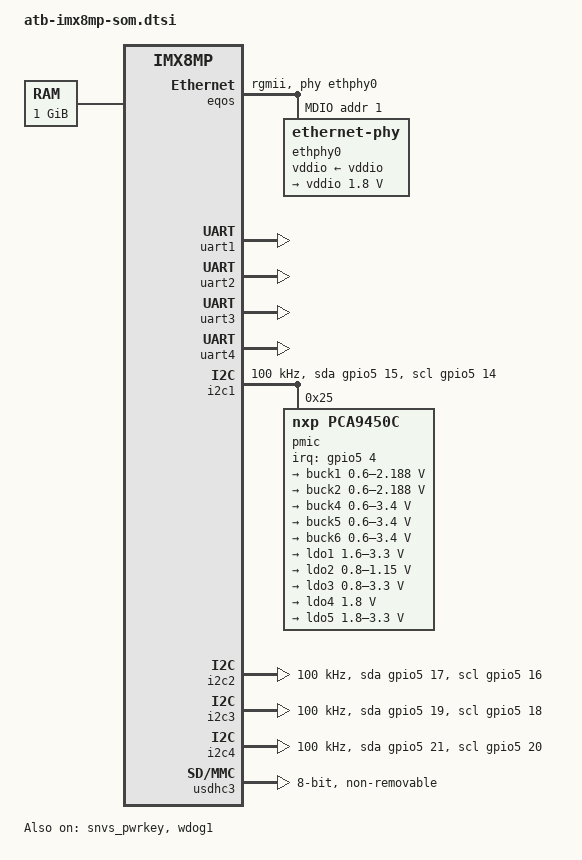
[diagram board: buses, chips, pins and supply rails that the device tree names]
// SPDX-License-Identifier: (GPL-2.0+ OR MIT)
/*
 * Copyright 2019 NXP
 * Copyright 2022 ATB
 */

/dts-v1/;

#include <dt-bindings/usb/pd.h>
#include "imx8mp.dtsi"

/ {
	compatible = "atb,imx8mp-var-som", "fsl,imx8mp";

	memory@40000000 {
		device_type = "memory";
		reg = <0x00000000 0x40000000 0x00000000 0x40000000>,
			  <0x00000000 0x00000000 0x00000000 0x00000000>;
	};

	aliases {
		ethernet0 = &eqos;
		ethernet1 = &fec;
	};
};

&eqos {
	pinctrl-names = "default";
	pinctrl-0 = <&pinctrl_eqos>;
	phy-mode = "rgmii";
	phy-handle = <&ethphy0>;
	status = "okay";

	mdio {
		compatible = "snps,dwmac-mdio";
		#address-cells = <1>;
		#size-cells = <0>;

		ethphy0: ethernet-phy@1 {
			reg = <1>;
			qca,clk-out-frequency = <125000000>;
			qca,keep-pll-enabled;
			vddio-supply = <&vddio>;

			vddio: vddio-regulator {
				regulator-min-microvolt = <1800000>;
				regulator-max-microvolt = <1800000>;
			};
		};
	};
};

/*
&sai3 {
	#sound-dai-cells = <0>;
	pinctrl-names = "default";
	pinctrl-0 = <&pinctrl_sai3>;
	assigned-clocks = <&clk IMX8MP_CLK_SAI3>;
	assigned-clock-parents = <&clk IMX8MP_AUDIO_PLL1_OUT>;
	assigned-clock-rates = <11536000>;
	clocks = <&audio_blk_ctrl IMX8MP_CLK_AUDIO_BLK_CTRL_SAI3_IPG>, <&clk IMX8MP_CLK_DUMMY>,
		 <&audio_blk_ctrl IMX8MP_CLK_AUDIO_BLK_CTRL_SAI3_MCLK1>, <&clk IMX8MP_CLK_DUMMY>,
		 <&clk IMX8MP_CLK_DUMMY>;
	clock-names = "bus", "mclk0", "mclk1", "mclk2", "mclk3";
	fsl,sai-mclk-direction-output;
	status = "okay";
};
*/

&uart1 {
	pinctrl-names = "default";
	pinctrl-0 = <&pinctrl_uart1>;
	status = "okay";
};

&uart2 {
	pinctrl-names = "default";
	pinctrl-0 = <&pinctrl_uart2>;
	status = "okay";
};

&uart3 {
	pinctrl-names = "default";
	pinctrl-0 = <&pinctrl_uart3>;
	status = "okay";
};

&uart4 {
	pinctrl-names = "default";
	pinctrl-0 = <&pinctrl_uart4>;
	status = "okay";
};

&i2c1 {
	clock-frequency = <100000>;
	pinctrl-names = "default", "gpio";
	pinctrl-0 = <&pinctrl_i2c1>;
	pinctrl-1 = <&pinctrl_i2c1_gpio>;
	scl-gpios = <&gpio5 14 GPIO_ACTIVE_HIGH>;
	sda-gpios = <&gpio5 15 GPIO_ACTIVE_HIGH>;
	status = "okay";

	pmic: pca9450@25 {
		reg = <0x25>;
		compatible = "nxp,pca9450c";
		pinctrl-names = "default";
		pinctrl-0 = <&pinctrl_pmic>;
		interrupt-parent = <&gpio5>;
		interrupts = <4 GPIO_ACTIVE_LOW>;
		status = "okay";

		regulators {
			#address-cells = <1>;
			#size-cells = <0>;

			buck1: BUCK1 {
				regulator-name = "BUCK1";
				regulator-min-microvolt = <600000>;
				regulator-max-microvolt = <2187500>;
				regulator-boot-on;
				regulator-always-on;
				regulator-ramp-delay = <3125>;
			};

			buck2: BUCK2 {
				regulator-name = "BUCK2";
				regulator-min-microvolt = <600000>;
				regulator-max-microvolt = <2187500>;
				regulator-boot-on;
				regulator-always-on;
				regulator-ramp-delay = <3125>;
				nxp,dvs-run-voltage = <950000>;
				nxp,dvs-standby-voltage = <850000>;
			};

			buck4: BUCK4 {
				regulator-name = "BUCK4";
				regulator-min-microvolt = <600000>;
				regulator-max-microvolt = <3400000>;
				regulator-boot-on;
				regulator-always-on;
			};

			buck5: BUCK5 {
				regulator-name = "BUCK5";
				regulator-min-microvolt = <600000>;
				regulator-max-microvolt = <3400000>;
				regulator-boot-on;
				regulator-always-on;
			};

			buck6: BUCK6 {
				regulator-name = "BUCK6";
				regulator-min-microvolt = <600000>;
				regulator-max-microvolt = <3400000>;
				regulator-boot-on;
				regulator-always-on;
			};

			ldo1: LDO1 {
				regulator-name = "LDO1";
				regulator-min-microvolt = <1600000>;
				regulator-max-microvolt = <3300000>;
				regulator-boot-on;
				regulator-always-on;
			};

			ldo2: LDO2 {
				regulator-name = "LDO2";
				regulator-min-microvolt = <800000>;
				regulator-max-microvolt = <1150000>;
				regulator-boot-on;
				regulator-always-on;
			};

			ldo3: LDO3 {
				regulator-name = "LDO3";
				regulator-min-microvolt = <800000>;
				regulator-max-microvolt = <3300000>;
				regulator-boot-on;
				regulator-always-on;
			};

			ldo4: LDO4 {
				regulator-name = "LDO4";
				regulator-min-microvolt = <1800000>;
				regulator-max-microvolt = <1800000>;
				regulator-always-on;
			};

			ldo5: LDO5 {
				regulator-name = "LDO5";
				regulator-min-microvolt = <1800000>;
				regulator-max-microvolt = <3300000>;
			};
		};
	};
};

&i2c2 {
	clock-frequency = <100000>;
	pinctrl-names = "default", "gpio";
	pinctrl-0 = <&pinctrl_i2c2>;
	pinctrl-1 = <&pinctrl_i2c2_gpio>;
	scl-gpios = <&gpio5 16 GPIO_ACTIVE_HIGH>;
	sda-gpios = <&gpio5 17 GPIO_ACTIVE_HIGH>;
	status = "okay";
};

&i2c3 {
	clock-frequency = <100000>;
	pinctrl-names = "default", "gpio";
	pinctrl-0 = <&pinctrl_i2c3>;
	pinctrl-1 = <&pinctrl_i2c3_gpio>;
	scl-gpios = <&gpio5 18 GPIO_ACTIVE_HIGH>;
	sda-gpios = <&gpio5 19 GPIO_ACTIVE_HIGH>;
	status = "okay";
};

&i2c4 {
	clock-frequency = <100000>;
	pinctrl-names = "default", "gpio";
	pinctrl-0 = <&pinctrl_i2c4>;
	pinctrl-1 = <&pinctrl_i2c4_gpio>;
	scl-gpios = <&gpio5 20 GPIO_ACTIVE_HIGH>;
	sda-gpios = <&gpio5 21 GPIO_ACTIVE_HIGH>;
	status = "okay";
};

&snvs_pwrkey {
	status = "okay";
};

&usdhc3 {
	pinctrl-names = "default", "state_100mhz", "state_200mhz";
	pinctrl-0 = <&pinctrl_usdhc3>;
	pinctrl-1 = <&pinctrl_usdhc3_100mhz>;
	pinctrl-2 = <&pinctrl_usdhc3_200mhz>;
	bus-width = <8>;
	non-removable;
	status = "okay";
};

&wdog1 {
	pinctrl-names = "default";
	pinctrl-0 = <&pinctrl_wdog>;
	fsl,ext-reset-output;
	status = "okay";
};

&iomuxc {

	pinctrl-names = "default";

	pinctrl_eqos: eqosgrp {
		fsl,pins = <
			MX8MP_IOMUXC_ENET_MDC__ENET_QOS_MDC				0x2
			MX8MP_IOMUXC_ENET_MDIO__ENET_QOS_MDIO				0x2
			MX8MP_IOMUXC_ENET_RD0__ENET_QOS_RGMII_RD0			0x90
			MX8MP_IOMUXC_ENET_RD1__ENET_QOS_RGMII_RD1			0x90
			MX8MP_IOMUXC_ENET_RD2__ENET_QOS_RGMII_RD2			0x90
			MX8MP_IOMUXC_ENET_RD3__ENET_QOS_RGMII_RD3			0x90
			MX8MP_IOMUXC_ENET_RXC__CCM_ENET_QOS_CLOCK_GENERATE_RX_CLK	0x90
			MX8MP_IOMUXC_ENET_RX_CTL__ENET_QOS_RGMII_RX_CTL			0x90
			MX8MP_IOMUXC_ENET_TD0__ENET_QOS_RGMII_TD0			0x16
			MX8MP_IOMUXC_ENET_TD1__ENET_QOS_RGMII_TD1			0x16
			MX8MP_IOMUXC_ENET_TD2__ENET_QOS_RGMII_TD2			0x16
			MX8MP_IOMUXC_ENET_TD3__ENET_QOS_RGMII_TD3			0x16
			MX8MP_IOMUXC_ENET_TX_CTL__ENET_QOS_RGMII_TX_CTL			0x16
			MX8MP_IOMUXC_ENET_TXC__CCM_ENET_QOS_CLOCK_GENERATE_TX_CLK	0x16
			// SOC.B7 ETH_INT_
//			MX8MP_IOMUXC_GPIO1_IO10__GPIO1_IO10				0x10
		>;
	};

	pinctrl_sai3: sai3grp {
		fsl,pins = <
			MX8MP_IOMUXC_SAI3_TXFS__AUDIOMIX_SAI3_TX_SYNC			0xd6
			MX8MP_IOMUXC_SAI3_TXC__AUDIOMIX_SAI3_TX_BCLK			0xd6
			MX8MP_IOMUXC_SAI3_RXD__AUDIOMIX_SAI3_RX_DATA00			0xd6
			MX8MP_IOMUXC_SAI3_TXD__AUDIOMIX_SAI3_TX_DATA00			0xd6
			MX8MP_IOMUXC_SAI3_MCLK__AUDIOMIX_SAI3_MCLK			0xd6
			MX8MP_IOMUXC_SAI3_RXFS__AUDIOMIX_SAI3_RX_SYNC			0xd6
			MX8MP_IOMUXC_SAI3_RXC__AUDIOMIX_SAI3_RX_BCLK			0xd6
		>;
	};

	pinctrl_uart1: uart1grp {
		fsl,pins = <
			// GPIO5_IO22 SOC.AD6
			MX8MP_IOMUXC_UART2_RXD__UART2_DCE_RX				0x40
			// GPIO5_IO23 SOC.AJ3
			MX8MP_IOMUXC_UART2_TXD__UART2_DCE_TX				0x40
		>;
	};

	pinctrl_uart2: uart2grp {
		fsl,pins = <
			// GPIO5_IO24 SOC.AF6
			MX8MP_IOMUXC_UART2_RXD__UART2_DCE_RX				0x40
			// GPIO5_IO25 SOC.AH4
			MX8MP_IOMUXC_UART2_TXD__UART2_DCE_TX				0x40
		>;
	};

	pinctrl_uart3: uart3grp {
		fsl,pins = <
			// GPIO5_IO26 SOC.AE6
			MX8MP_IOMUXC_UART2_RXD__UART2_DCE_RX				0x40
			// GPIO5_IO27 SOC.AJ4
			MX8MP_IOMUXC_UART2_TXD__UART2_DCE_TX				0x40
		>;
	};

	pinctrl_uart4: uart4grp {
		fsl,pins = <
			// GPIO5_IO28 SOC.AJ5
			MX8MP_IOMUXC_UART2_RXD__UART2_DCE_RX				0x40
			// GPIO5_IO29 SOC.AH5
			MX8MP_IOMUXC_UART2_TXD__UART2_DCE_TX				0x40
		>;
	};

	pinctrl_i2c1: i2c1grp {
		fsl,pins = <
			// GPIO5_IO14 SOC.AC8
			MX8MP_IOMUXC_I2C1_SCL__I2C1_SCL		0x400001c3
			// GPIO5_IO15 SOC.AH7
			MX8MP_IOMUXC_I2C1_SDA__I2C1_SDA		0x400001c3
		>;
	};

	pinctrl_i2c1_gpio: i2c1-gpiogrp {
		fsl,pins = <
			// GPIO5_IO14 SOC.AC8
			MX8MP_IOMUXC_I2C1_SCL__GPIO5_IO14        	0x1c3
			// GPIO5_IO15 SOC.AH7
			MX8MP_IOMUXC_I2C1_SDA__GPIO5_IO15        	0x1c3
		>;
	};

	pinctrl_i2c2: i2c2grp {
		fsl,pins = <
			// GPIO5_IO16 SOC.AH6
			MX8MP_IOMUXC_I2C2_SCL__I2C2_SCL		0x400001c3
			// GPIO5_IO17 SOC.AE8
			MX8MP_IOMUXC_I2C2_SDA__I2C2_SDA		0x400001c3
		>;
	};

	pinctrl_i2c2_gpio: i2c2-gpiogrp {
		fsl,pins = <
			// GPIO5_IO16 SOC.AH6
			MX8MP_IOMUXC_I2C2_SCL__GPIO5_IO16        	0x1c3
			// GPIO5_IO17 SOC.AE8
			MX8MP_IOMUXC_I2C2_SDA__GPIO5_IO17        	0x1c3
		>;
	};

	pinctrl_i2c3: i2c3grp {
		fsl,pins = <
			// GPIO5_IO18 SOC.AJ7
			MX8MP_IOMUXC_I2C3_SCL__I2C3_SCL		0x400001c3
			// GPIO5_IO19 SOC.AJ6
			MX8MP_IOMUXC_I2C3_SDA__I2C3_SDA		0x400001c3
		>;
	};

	pinctrl_i2c3_gpio: i2c3-gpiogrp {
		fsl,pins = <
			// GPIO5_IO18 SOC.AJ7
			MX8MP_IOMUXC_I2C3_SCL__GPIO5_IO18        	0x1c3
			// GPIO5_IO19 SOC.AJ6
			MX8MP_IOMUXC_I2C3_SDA__GPIO5_IO19        	0x1c3
		>;
	};

	pinctrl_i2c4: i2c4grp {
		fsl,pins = <
			// GPIO5_IO20 SOC.AF8
			MX8MP_IOMUXC_I2C4_SCL__I2C4_SCL		0x400001c3
			// GPIO5_IO21 SOC.AD8
			MX8MP_IOMUXC_I2C4_SDA__I2C4_SDA		0x400001c3
		>;
	};

	pinctrl_i2c4_gpio: i2c4-gpiogrp {
		fsl,pins = <
			// GPIO5_IO20 SOC.AF8
			MX8MP_IOMUXC_I2C4_SCL__GPIO5_IO20        	0x1c3
			// GPIO5_IO21 SOC.AD8
			MX8MP_IOMUXC_I2C4_SDA__GPIO5_IO21        	0x1c3
		>;
	};

	pinctrl_pmic: pmicirq {
		fsl,pins = <
			// GPIO5_IO21 SOC.E6
			MX8MP_IOMUXC_GPIO1_IO04__GPIO1_IO04	0x41
		>;
	};

	pinctrl_usdhc3: usdhc3grp {
		fsl,pins = <
			MX8MP_IOMUXC_NAND_WE_B__USDHC3_CLK				0x190
			MX8MP_IOMUXC_NAND_WP_B__USDHC3_CMD				0x1d0
			MX8MP_IOMUXC_NAND_DATA04__USDHC3_DATA0				0x1d0
			MX8MP_IOMUXC_NAND_DATA05__USDHC3_DATA1				0x1d0
			MX8MP_IOMUXC_NAND_DATA06__USDHC3_DATA2				0x1d0
			MX8MP_IOMUXC_NAND_DATA07__USDHC3_DATA3				0x1d0
			MX8MP_IOMUXC_NAND_RE_B__USDHC3_DATA4				0x1d0
			MX8MP_IOMUXC_NAND_CE2_B__USDHC3_DATA5				0x1d0
			MX8MP_IOMUXC_NAND_CE3_B__USDHC3_DATA6				0x1d0
			MX8MP_IOMUXC_NAND_CLE__USDHC3_DATA7				0x1d0
			MX8MP_IOMUXC_NAND_CE1_B__USDHC3_STROBE				0x190
		>;
	};

	pinctrl_usdhc3_100mhz: usdhc3-100mhzgrp {
		fsl,pins = <
			MX8MP_IOMUXC_NAND_WE_B__USDHC3_CLK				0x194
			MX8MP_IOMUXC_NAND_WP_B__USDHC3_CMD				0x1d4
			MX8MP_IOMUXC_NAND_DATA04__USDHC3_DATA0				0x1d4
			MX8MP_IOMUXC_NAND_DATA05__USDHC3_DATA1				0x1d4
			MX8MP_IOMUXC_NAND_DATA06__USDHC3_DATA2				0x1d4
			MX8MP_IOMUXC_NAND_DATA07__USDHC3_DATA3				0x1d4
			MX8MP_IOMUXC_NAND_RE_B__USDHC3_DATA4				0x1d4
			MX8MP_IOMUXC_NAND_CE2_B__USDHC3_DATA5				0x1d4
			MX8MP_IOMUXC_NAND_CE3_B__USDHC3_DATA6				0x1d4
			MX8MP_IOMUXC_NAND_CLE__USDHC3_DATA7				0x1d4
			MX8MP_IOMUXC_NAND_CE1_B__USDHC3_STROBE				0x194
		>;
	};

	pinctrl_usdhc3_200mhz: usdhc3-200mhzgrp {
		fsl,pins = <
			MX8MP_IOMUXC_NAND_WE_B__USDHC3_CLK				0x196
			MX8MP_IOMUXC_NAND_WP_B__USDHC3_CMD				0x1d6
			MX8MP_IOMUXC_NAND_DATA04__USDHC3_DATA0				0x1d6
			MX8MP_IOMUXC_NAND_DATA05__USDHC3_DATA1				0x1d6
			MX8MP_IOMUXC_NAND_DATA06__USDHC3_DATA2				0x1d6
			MX8MP_IOMUXC_NAND_DATA07__USDHC3_DATA3				0x1d6
			MX8MP_IOMUXC_NAND_RE_B__USDHC3_DATA4				0x1d6
			MX8MP_IOMUXC_NAND_CE2_B__USDHC3_DATA5				0x1d6
			MX8MP_IOMUXC_NAND_CE3_B__USDHC3_DATA6				0x1d6
			MX8MP_IOMUXC_NAND_CLE__USDHC3_DATA7				0x1d6
			MX8MP_IOMUXC_NAND_CE1_B__USDHC3_STROBE				0x196
		>;
	};

	pinctrl_wdog: wdoggrp {
		fsl,pins = <
			MX8MP_IOMUXC_GPIO1_IO02__WDOG1_WDOG_B				0xc6
		>;
	};
};
